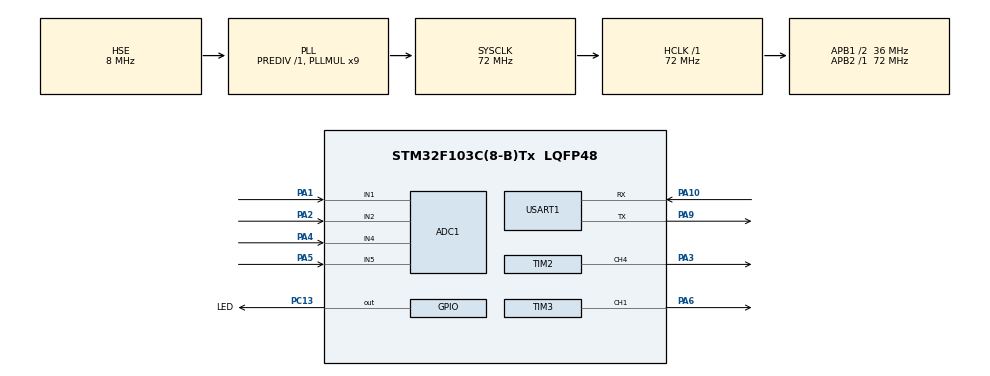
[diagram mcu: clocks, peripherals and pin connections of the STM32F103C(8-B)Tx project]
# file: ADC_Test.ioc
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ADC1.Channel-5\#ChannelRegularConversion=ADC_CHANNEL_1
ADC1.Channel-6\#ChannelRegularConversion=ADC_CHANNEL_2
ADC1.Channel-7\#ChannelRegularConversion=ADC_CHANNEL_4
ADC1.Channel-8\#ChannelRegularConversion=ADC_CHANNEL_5
ADC1.NbrOfConversion=4
ADC1.NbrOfConversionFlag=1
ADC1.Rank-5\#ChannelRegularConversion=1
ADC1.Rank-6\#ChannelRegularConversion=2
ADC1.Rank-7\#ChannelRegularConversion=3
ADC1.Rank-8\#ChannelRegularConversion=4
ADC1.SamplingTime-5\#ChannelRegularConversion=ADC_SAMPLETIME_1CYCLE_5
ADC1.SamplingTime-6\#ChannelRegularConversion=ADC_SAMPLETIME_1CYCLE_5
ADC1.SamplingTime-7\#ChannelRegularConversion=ADC_SAMPLETIME_1CYCLE_5
ADC1.SamplingTime-8\#ChannelRegularConversion=ADC_SAMPLETIME_1CYCLE_5
ADC1.master=1
Dma.ADC1.0.Direction=DMA_PERIPH_TO_MEMORY
Dma.ADC1.0.Instance=DMA1_Channel1
Dma.ADC1.0.MemDataAlignment=DMA_MDATAALIGN_HALFWORD
Dma.ADC1.0.MemInc=DMA_MINC_ENABLE
Dma.ADC1.0.Mode=DMA_CIRCULAR
Dma.ADC1.0.PeriphDataAlignment=DMA_PDATAALIGN_HALFWORD
Dma.ADC1.0.PeriphInc=DMA_PINC_DISABLE
Dma.ADC1.0.Priority=DMA_PRIORITY_LOW
Dma.Request0=ADC1
Mcu.Family=STM32F1
Mcu.Name=STM32F103C(8-B)Tx
Mcu.Package=LQFP48
NVIC.DMA1_Channel1_IRQn=true\:0\:0\:false\:false\:true\:false\:true\:true
NVIC.PriorityGroup=NVIC_PRIORITYGROUP_4
NVIC.TIM2_IRQn=true\:0\:0\:false\:false\:true\:true\:true\:true
NVIC.TIM3_IRQn=true\:0\:0\:false\:false\:true\:true\:true\:true
PA1.Signal=ADCx_IN1
PA10.Mode=Asynchronous
PA10.Signal=USART1_RX
PA13.Mode=Serial_Wire
PA13.Signal=SYS_JTMS-SWDIO
PA14.Mode=Serial_Wire
PA14.Signal=SYS_JTCK-SWCLK
PA2.Signal=ADCx_IN2
PA3.Signal=S_TIM2_CH4
PA4.Signal=ADCx_IN4
PA5.Signal=ADCx_IN5
PA6.Signal=S_TIM3_CH1
PA9.Mode=Asynchronous
PA9.Signal=USART1_TX
PC13-TAMPER-RTC.GPIO_Label=LED
PC13-TAMPER-RTC.Signal=GPIO_Output
PD0-OSC_IN.Mode=HSE-External-Oscillator
PD0-OSC_IN.Signal=RCC_OSC_IN
PD1-OSC_OUT.Mode=HSE-External-Oscillator
PD1-OSC_OUT.Signal=RCC_OSC_OUT
ProjectManager.HeapSize=0x200
ProjectManager.StackSize=0x400
ProjectManager.TargetToolchain=MDK-ARM V5.32
RCC.ADCPresc=RCC_ADCPCLK2_DIV6
RCC.AHBFreq_Value=72000000
RCC.APB1CLKDivider=RCC_HCLK_DIV2
RCC.APB1Freq_Value=36000000
RCC.APB1TimFreq_Value=72000000
RCC.APB2Freq_Value=72000000
RCC.APB2TimFreq_Value=72000000
RCC.HCLKFreq_Value=72000000
RCC.PLLMUL=RCC_PLL_MUL9
RCC.PLLSourceVirtual=RCC_PLLSOURCE_HSE
RCC.SYSCLKFreq_VALUE=72000000
RCC.SYSCLKSource=RCC_SYSCLKSOURCE_PLLCLK
RCC.USBFreq_Value=72000000
SH.ADCx_IN1.0=ADC1_IN1,IN1
SH.ADCx_IN2.0=ADC1_IN2,IN2
SH.ADCx_IN4.0=ADC1_IN4,IN4
SH.ADCx_IN5.0=ADC1_IN5,IN5
SH.S_TIM2_CH4.0=TIM2_CH4,PWM Generation4 CH4
SH.S_TIM3_CH1.0=TIM3_CH1,PWM Generation1 CH1
TIM2.Channel-PWM\ Generation4\ CH4=TIM_CHANNEL_4
TIM2.Period=20000
TIM2.Prescaler=71
TIM2.Pulse-PWM\ Generation4\ CH4=1500
TIM3.Channel-PWM\ Generation1\ CH1=TIM_CHANNEL_1
TIM3.Period=20000
TIM3.Prescaler=71
TIM3.Pulse-PWM\ Generation1\ CH1=1500
USART1.VirtualMode=VM_ASYNC
board=custom

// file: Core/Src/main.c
/* USER CODE BEGIN Header */
/**
  ******************************************************************************
  * @file           : main.c
  * @brief          : Main program body
  ******************************************************************************
  * @attention
  *
  * Copyright (c) 2025 STMicroelectronics.
  * All rights reserved.
  *
  * This software is licensed under terms that can be found in the LICENSE file
  * in the root directory of this software component.
  * If no LICENSE file comes with this software, it is provided AS-IS.
  *
  ******************************************************************************
  */
/* USER CODE END Header */
#include "main.h"
#include <stdio.h>
#include <string.h>
#include <math.h>

#define SERVO_LEFT 0
#define SERVO_CENTER 90
#define SERVO_RIGHT 180
#define SERVO_UP 180
#define SERVO_DOWN 0
#define THRESHOLD 15.1f

/* USER CODE BEGIN Includes */
	uint16_t adc_value;

	float value_left_photoresit;
	float value_right_photoresit;
	float value_upper_photoresit;
	float value_lower_photoresit;

	float servo_horizon_result;
	float servo_vertical_result;

	char msg[150];

	/*char msg_left_photoresit[50];
	char msg_right_photoresit[50];

	char msg_upper_photoresit[50];
	char msg_lower_photoresit[50];*/

	uint16_t val[4];

	uint8_t servo_left_position = 0;
	uint8_t servo_right_position = 0;
	uint8_t servo_center_position_hor = 1;

	uint8_t servo_upper_position = 0;
	uint8_t servo_lower_position = 0;
	uint8_t servo_center_position_ver = 1;

/* USER CODE END Includes */

ADC_HandleTypeDef hadc1;
DMA_HandleTypeDef hdma_adc1;

TIM_HandleTypeDef htim2;
TIM_HandleTypeDef htim3;

UART_HandleTypeDef huart1;

void SystemClock_Config(void);
static void MX_GPIO_Init(void);
static void MX_DMA_Init(void);
static void MX_ADC1_Init(void);
static void MX_USART1_UART_Init(void);
static void MX_TIM2_Init(void);
static void MX_TIM3_Init(void);
/* USER CODE BEGIN PFP */
void smooth_move(TIM_HandleTypeDef *htim, uint32_t channel, uint16_t start_angle, uint16_t end_angle, uint16_t speed_ms){
	uint16_t start_pulse = (start_angle * 2000 / 180) + 500;
	uint16_t end_pulse = (end_angle * 2000 / 180) + 500;
	int step = (start_pulse < end_pulse) ? 10 : -10;

	for(int pulse = start_pulse; pulse != end_pulse; pulse += step){
		__HAL_TIM_SET_COMPARE(htim, channel, pulse);
		HAL_Delay(speed_ms);
	}
	__HAL_TIM_SET_COMPARE(htim, channel, end_pulse);
}
/* USER CODE END PFP */

int main(void)
{

  /* MCU Configuration--------------------------------------------------------*/

  /* Reset of all peripherals, Initializes the Flash interface and the Systick. */
  HAL_Init();

  /* Configure the system clock */
  SystemClock_Config();

  /* Initialize all configured peripherals */
  MX_GPIO_Init();
  MX_DMA_Init();
  MX_ADC1_Init();
  MX_USART1_UART_Init();
  MX_TIM2_Init();
  MX_TIM3_Init();
  /* USER CODE BEGIN 2 */
	HAL_ADCEx_Calibration_Start(&hadc1);

	HAL_TIM_PWM_Start(&htim2, TIM_CHANNEL_4);
	__HAL_TIM_SET_COMPARE(&htim2, TIM_CHANNEL_4, 1500); // Ставим в начальное положение сервопривода(горизонт) на 90*

	HAL_TIM_PWM_Start(&htim3, TIM_CHANNEL_1);
	__HAL_TIM_SET_COMPARE(&htim3, TIM_CHANNEL_1, 1500); // Ставим в начальное положение сервопривода(вертикаль) на 90*
  /* USER CODE END 2 */

  /* Infinite loop */
  while (1)
  {

    /* USER CODE BEGIN 3 */
	  HAL_GPIO_WritePin(GPIOC, LED_Pin, 0);
	  HAL_ADC_Start_DMA(&hadc1, (uint32_t *)val, 4);

	  value_left_photoresit = val[0];
	  value_right_photoresit = val[1];
	  value_upper_photoresit = val[2];
	  value_lower_photoresit = val[3];

	  HAL_Delay(500);
	  sprintf(msg, "left: %.0f\r\nright: %.0f\r\nup: %.0f\r\nlow: %.0f\r\n",
				value_left_photoresit, value_right_photoresit * 1.2,
	  value_upper_photoresit * 1.32, value_lower_photoresit);

	  HAL_UART_Transmit(&huart1, (uint8_t*)msg, strlen(msg), HAL_MAX_DELAY);

	  HAL_GPIO_WritePin(GPIOC, LED_Pin, 1);

	  ///SERVO///
		 // Расчет разницы значений
    float sum_hor = value_left_photoresit + value_right_photoresit;
    float sum_ver = value_upper_photoresit + value_lower_photoresit;

    if(sum_hor > 0) {
        servo_horizon_result = 200 * fabs(value_left_photoresit - value_right_photoresit) / sum_hor;
    } else {
        servo_horizon_result = 0;
    }

    if(sum_ver > 0) {
        servo_vertical_result = 200 * fabs(value_lower_photoresit - value_upper_photoresit) / sum_ver;
    } else {
        servo_vertical_result = 0;
    }

		/// Управление горизонтальным сервоприводом ///
    if (value_left_photoresit > value_right_photoresit && servo_horizon_result > THRESHOLD) {
        if(!servo_left_position) {
            smooth_move(&htim2, TIM_CHANNEL_4, SERVO_CENTER, SERVO_LEFT, 20);
            servo_left_position = 1;
            servo_right_position = 0;
            servo_center_position_hor = 0;
        }
    }
    else if (value_left_photoresit < value_right_photoresit && servo_horizon_result > THRESHOLD) {
        if(!servo_right_position) {
            smooth_move(&htim2, TIM_CHANNEL_4, SERVO_CENTER, SERVO_RIGHT, 20);
            servo_right_position = 1;
            servo_left_position = 0;
            servo_center_position_hor = 0;
        }
    }
    else if(!servo_center_position_hor) {
        if(servo_left_position) {
            smooth_move(&htim2, TIM_CHANNEL_4, SERVO_LEFT, SERVO_CENTER, 20);
        } else {
            smooth_move(&htim2, TIM_CHANNEL_4, SERVO_RIGHT, SERVO_CENTER, 20);
        }
        servo_center_position_hor = 1;
        servo_left_position = 0;
        servo_right_position = 0;
    }

    /// Управление вертикальным сервоприводом ///
	if (value_lower_photoresit > value_upper_photoresit && servo_vertical_result > THRESHOLD) {
		if(!servo_lower_position) {
			smooth_move(&htim3, TIM_CHANNEL_1,
					   servo_center_position_ver ? SERVO_CENTER :
					   (servo_upper_position ? SERVO_UP : SERVO_DOWN),
					   SERVO_DOWN, 20);
			servo_upper_position = 0;
			servo_lower_position = 1;
			servo_center_position_ver = 0;
		}
	}
	else if (value_lower_photoresit < value_upper_photoresit && servo_vertical_result > THRESHOLD) {
		if(!servo_upper_position) {
			smooth_move(&htim3, TIM_CHANNEL_1,
					   servo_center_position_ver ? SERVO_CENTER :
					   (servo_lower_position ? SERVO_DOWN : SERVO_UP),
					   SERVO_UP, 20);
			servo_upper_position = 1;
			servo_lower_position = 0;
			servo_center_position_ver = 0;
		}
	}
	else if(servo_vertical_result <= THRESHOLD && !servo_center_position_ver) {
		if(servo_lower_position) {
			smooth_move(&htim3, TIM_CHANNEL_1, SERVO_DOWN, SERVO_CENTER, 20);
		}
		else if(servo_upper_position) {
			smooth_move(&htim3, TIM_CHANNEL_1, SERVO_UP, SERVO_CENTER, 20);
		}
		servo_upper_position = 0;
		servo_lower_position = 0;
		servo_center_position_ver = 1;
	}

    HAL_Delay(50);
  }
  /* USER CODE END 3 */
}

void SystemClock_Config(void)
{
  RCC_OscInitTypeDef RCC_OscInitStruct = {0};
  RCC_ClkInitTypeDef RCC_ClkInitStruct = {0};
  RCC_PeriphCLKInitTypeDef PeriphClkInit = {0};

  /** Initializes the RCC Oscillators according to the specified parameters
  * in the RCC_OscInitTypeDef structure.
  */
  RCC_OscInitStruct.OscillatorType = RCC_OSCILLATORTYPE_HSE;
  RCC_OscInitStruct.HSEState = RCC_HSE_ON;
  RCC_OscInitStruct.HSEPredivValue = RCC_HSE_PREDIV_DIV1;
  RCC_OscInitStruct.HSIState = RCC_HSI_ON;
  RCC_OscInitStruct.PLL.PLLState = RCC_PLL_ON;
  RCC_OscInitStruct.PLL.PLLSource = RCC_PLLSOURCE_HSE;
  RCC_OscInitStruct.PLL.PLLMUL = RCC_PLL_MUL9;
  if (HAL_RCC_OscConfig(&RCC_OscInitStruct) != HAL_OK)
  {
    Error_Handler();
  }

  /** Initializes the CPU, AHB and APB buses clocks
  */
  RCC_ClkInitStruct.ClockType = RCC_CLOCKTYPE_HCLK|RCC_CLOCKTYPE_SYSCLK
                              |RCC_CLOCKTYPE_PCLK1|RCC_CLOCKTYPE_PCLK2;
  RCC_ClkInitStruct.SYSCLKSource = RCC_SYSCLKSOURCE_PLLCLK;
  RCC_ClkInitStruct.AHBCLKDivider = RCC_SYSCLK_DIV1;
  RCC_ClkInitStruct.APB1CLKDivider = RCC_HCLK_DIV2;
  RCC_ClkInitStruct.APB2CLKDivider = RCC_HCLK_DIV1;

  if (HAL_RCC_ClockConfig(&RCC_ClkInitStruct, FLASH_LATENCY_2) != HAL_OK)
  {
    Error_Handler();
  }
  PeriphClkInit.PeriphClockSelection = RCC_PERIPHCLK_ADC;
  PeriphClkInit.AdcClockSelection = RCC_ADCPCLK2_DIV6;
  if (HAL_RCCEx_PeriphCLKConfig(&PeriphClkInit) != HAL_OK)
  {
    Error_Handler();
  }
}

static void MX_ADC1_Init(void)
{

  ADC_ChannelConfTypeDef sConfig = {0};

  /** Common config
  */
  hadc1.Instance = ADC1;
  hadc1.Init.ScanConvMode = ADC_SCAN_ENABLE;
  hadc1.Init.ContinuousConvMode = DISABLE;
  hadc1.Init.DiscontinuousConvMode = DISABLE;
  hadc1.Init.ExternalTrigConv = ADC_SOFTWARE_START;
  hadc1.Init.DataAlign = ADC_DATAALIGN_RIGHT;
  hadc1.Init.NbrOfConversion = 4;
  if (HAL_ADC_Init(&hadc1) != HAL_OK)
  {
    Error_Handler();
  }

  /** Configure Regular Channel
  */
  sConfig.Channel = ADC_CHANNEL_1;
  sConfig.Rank = ADC_REGULAR_RANK_1;
  sConfig.SamplingTime = ADC_SAMPLETIME_1CYCLE_5;
  if (HAL_ADC_ConfigChannel(&hadc1, &sConfig) != HAL_OK)
  {
    Error_Handler();
  }

  /** Configure Regular Channel
  */
  sConfig.Channel = ADC_CHANNEL_2;
  sConfig.Rank = ADC_REGULAR_RANK_2;
  if (HAL_ADC_ConfigChannel(&hadc1, &sConfig) != HAL_OK)
  {
    Error_Handler();
  }

  /** Configure Regular Channel
  */
  sConfig.Channel = ADC_CHANNEL_4;
  sConfig.Rank = ADC_REGULAR_RANK_3;
  if (HAL_ADC_ConfigChannel(&hadc1, &sConfig) != HAL_OK)
  {
    Error_Handler();
  }

  /** Configure Regular Channel
  */
  sConfig.Channel = ADC_CHANNEL_5;
  sConfig.Rank = ADC_REGULAR_RANK_4;
  if (HAL_ADC_ConfigChannel(&hadc1, &sConfig) != HAL_OK)
  {
    Error_Handler();
  }

}

static void MX_TIM2_Init(void)
{

  TIM_MasterConfigTypeDef sMasterConfig = {0};
  TIM_OC_InitTypeDef sConfigOC = {0};

  htim2.Instance = TIM2;
  htim2.Init.Prescaler = 71;
  htim2.Init.CounterMode = TIM_COUNTERMODE_UP;
  htim2.Init.Period = 20000;
  htim2.Init.ClockDivision = TIM_CLOCKDIVISION_DIV1;
  htim2.Init.AutoReloadPreload = TIM_AUTORELOAD_PRELOAD_DISABLE;
  if (HAL_TIM_PWM_Init(&htim2) != HAL_OK)
  {
    Error_Handler();
  }
  sMasterConfig.MasterOutputTrigger = TIM_TRGO_RESET;
  sMasterConfig.MasterSlaveMode = TIM_MASTERSLAVEMODE_DISABLE;
  if (HAL_TIMEx_MasterConfigSynchronization(&htim2, &sMasterConfig) != HAL_OK)
  {
    Error_Handler();
  }
  sConfigOC.OCMode = TIM_OCMODE_PWM1;
  sConfigOC.Pulse = 1500;
  sConfigOC.OCPolarity = TIM_OCPOLARITY_HIGH;
  sConfigOC.OCFastMode = TIM_OCFAST_DISABLE;
  if (HAL_TIM_PWM_ConfigChannel(&htim2, &sConfigOC, TIM_CHANNEL_4) != HAL_OK)
  {
    Error_Handler();
  }
  HAL_TIM_MspPostInit(&htim2);

}

static void MX_TIM3_Init(void)
{

  TIM_MasterConfigTypeDef sMasterConfig = {0};
  TIM_OC_InitTypeDef sConfigOC = {0};

  htim3.Instance = TIM3;
  htim3.Init.Prescaler = 71;
  htim3.Init.CounterMode = TIM_COUNTERMODE_UP;
  htim3.Init.Period = 20000;
  htim3.Init.ClockDivision = TIM_CLOCKDIVISION_DIV1;
  htim3.Init.AutoReloadPreload = TIM_AUTORELOAD_PRELOAD_DISABLE;
  if (HAL_TIM_PWM_Init(&htim3) != HAL_OK)
  {
    Error_Handler();
  }
  sMasterConfig.MasterOutputTrigger = TIM_TRGO_RESET;
  sMasterConfig.MasterSlaveMode = TIM_MASTERSLAVEMODE_DISABLE;
  if (HAL_TIMEx_MasterConfigSynchronization(&htim3, &sMasterConfig) != HAL_OK)
  {
    Error_Handler();
  }
  sConfigOC.OCMode = TIM_OCMODE_PWM1;
  sConfigOC.Pulse = 1500;
  sConfigOC.OCPolarity = TIM_OCPOLARITY_HIGH;
  sConfigOC.OCFastMode = TIM_OCFAST_DISABLE;
  if (HAL_TIM_PWM_ConfigChannel(&htim3, &sConfigOC, TIM_CHANNEL_1) != HAL_OK)
  {
    Error_Handler();
  }
  HAL_TIM_MspPostInit(&htim3);

}

static void MX_USART1_UART_Init(void)
{

  huart1.Instance = USART1;
  huart1.Init.BaudRate = 115200;
  huart1.Init.WordLength = UART_WORDLENGTH_8B;
  huart1.Init.StopBits = UART_STOPBITS_1;
  huart1.Init.Parity = UART_PARITY_NONE;
  huart1.Init.Mode = UART_MODE_TX_RX;
  huart1.Init.HwFlowCtl = UART_HWCONTROL_NONE;
  huart1.Init.OverSampling = UART_OVERSAMPLING_16;
  if (HAL_UART_Init(&huart1) != HAL_OK)
  {
    Error_Handler();
  }

}

static void MX_DMA_Init(void)
{

  /* DMA controller clock enable */
  __HAL_RCC_DMA1_CLK_ENABLE();

  /* DMA interrupt init */
  /* DMA1_Channel1_IRQn interrupt configuration */
  HAL_NVIC_SetPriority(DMA1_Channel1_IRQn, 0, 0);
  HAL_NVIC_EnableIRQ(DMA1_Channel1_IRQn);

}

static void MX_GPIO_Init(void)
{
  GPIO_InitTypeDef GPIO_InitStruct = {0};

  /* GPIO Ports Clock Enable */
  __HAL_RCC_GPIOC_CLK_ENABLE();
  __HAL_RCC_GPIOD_CLK_ENABLE();
  __HAL_RCC_GPIOA_CLK_ENABLE();

  /*Configure GPIO pin Output Level */
  HAL_GPIO_WritePin(LED_GPIO_Port, LED_Pin, GPIO_PIN_RESET);

  /*Configure GPIO pin : LED_Pin */
  GPIO_InitStruct.Pin = LED_Pin;
  GPIO_InitStruct.Mode = GPIO_MODE_OUTPUT_PP;
  GPIO_InitStruct.Pull = GPIO_NOPULL;
  GPIO_InitStruct.Speed = GPIO_SPEED_FREQ_LOW;
  HAL_GPIO_Init(LED_GPIO_Port, &GPIO_InitStruct);

}

void Error_Handler(void)
{
  __disable_irq();
  while (1)
  {
  }
}
